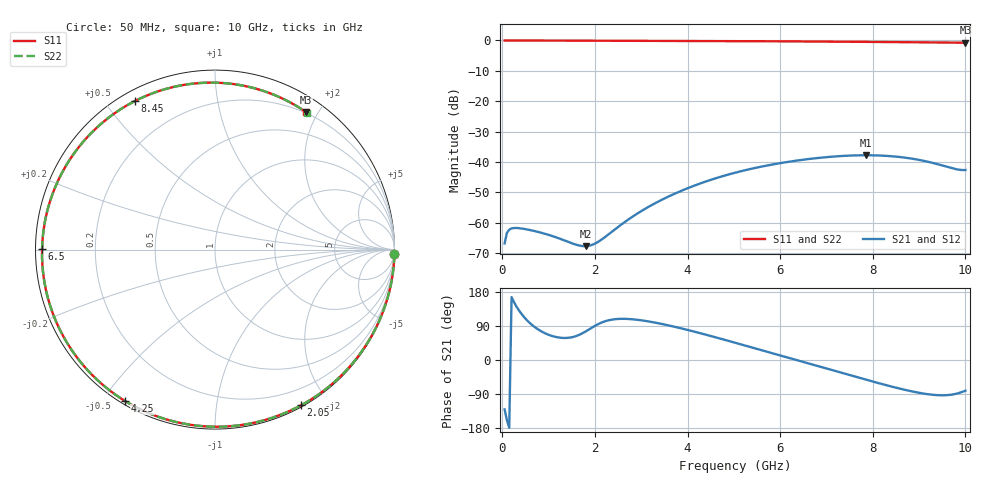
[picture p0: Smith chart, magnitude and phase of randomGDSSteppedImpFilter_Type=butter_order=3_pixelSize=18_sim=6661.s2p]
! freq	dB(S11)	phase(S11)	dB(S12)	phase(S12)
!  dB(S21)	phase(S21)	dB(S22)	phase(S22)
!S-par simulation data
#  GHz  S  DB  R 50
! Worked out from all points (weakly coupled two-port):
!   200 points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, 50 MHz to 10 GHz, reference 50 ohm
!   highest |S21| = -37.80 dB at 7.85 GHz (marker M1); lowest = -67.7 dB at 1.8 GHz (marker M2)
!   lowest |S11| = -0.7 dB at 10 GHz (marker M3), VSWR 23.58, Z = 9.4 + j92.3 ohm
!   |S11| at or under -10 dB: nowhere
!   |S22| runs from -0.7 to 0.0 dB; largest |S21 - S12| = 0
!   S11 on the Smith chart (normalised r, x): 50 MHz: 0, -75; 2.05 GHz: 0.02, -1.70; 4.25 GHz: 0.01, -0.57; 6.5 GHz: 0.02, +0.00; 8.45 GHz: 0.04, +0.60; 10 GHz: 0.19, +1.85
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0.05  -0.00 -1.5  -66.83 -130.2  -66.83 -130.2  -0.00 -1.5
0.1  -0.00 -3.1  -63.36 -158.8  -63.36 -158.8  -0.00 -3.1
0.15  -0.00 -4.6  -62.30 -178.7  -62.30 -178.7  -0.00 -4.6
0.3  -0.00 -9.2  -61.75 142.4  -61.75 142.4  -0.00 -9.2
1  -0.04 -30.4  -64.01 66.6  -64.01 66.6  -0.04 -30.4
1.75  -0.07 -52.4  -67.73 71.8  -67.73 71.8  -0.07 -52.5
1.8  -0.07 -53.9  -67.74 75.3  -67.74 75.3  -0.07 -53.9
2.05  -0.08 -61.1  -66.49 93.4  -66.49 93.4  -0.08 -61.1
2.7  -0.10 -79.3  -59.19 108.4  -59.19 108.4  -0.10 -79.3
3.4  -0.13 -98.2  -52.80 96.2  -52.80 96.2  -0.13 -98.2
4.25  -0.16 -120.6  -47.22 71.6  -47.22 71.6  -0.16 -120.6
5.05  -0.21 -141.3  -43.46 44.8  -43.46 44.8  -0.21 -141.4
5.8  -0.26 -161.0  -40.94 18.9  -40.94 18.9  -0.26 -161.1
6.5  -0.32 179.8  -39.26 -5.2  -39.26 -5.2  -0.32 179.8
6.7  -0.34 174.2  -38.89 -12.1  -38.89 -12.1  -0.34 174.1
7.3  -0.40 156.4  -38.07 -32.8  -38.07 -32.8  -0.40 156.3
7.85  -0.46 138.9  -37.80 -51.8  -37.80 -51.8  -0.46 138.8
8.35  -0.52 121.8  -38.06 -68.4  -38.06 -68.4  -0.52 121.7
8.45  -0.53 118.2  -38.18 -71.5  -38.18 -71.5  -0.54 118.1
9.25  -0.64 87.7  -40.16 -91.2  -40.16 -91.2  -0.64 87.5
9.6  -0.68 73.4  -41.60 -92.8  -41.60 -92.8  -0.68 73.2
10  -0.74 56.5  -42.66 -81.0  -42.66 -81.0  -0.74 56.2
